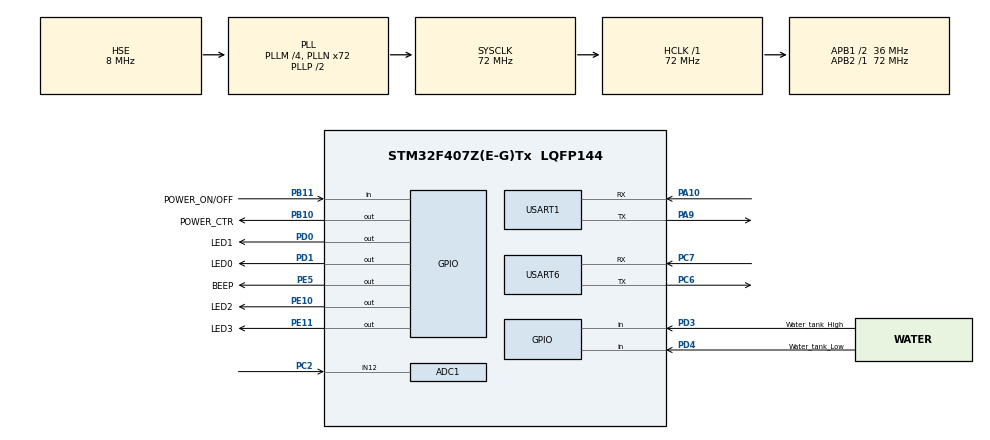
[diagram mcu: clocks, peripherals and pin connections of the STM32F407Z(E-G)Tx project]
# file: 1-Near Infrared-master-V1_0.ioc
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ADC1.Channel-0\#ChannelRegularConversion=ADC_CHANNEL_12
ADC1.ClockPrescaler=ADC_CLOCK_SYNC_PCLK_DIV8
ADC1.ContinuousConvMode=ENABLE
ADC1.InjNumberOfConversion=0
ADC1.NbrOfConversionFlag=1
ADC1.Rank-0\#ChannelRegularConversion=1
ADC1.SamplingTime-0\#ChannelRegularConversion=ADC_SAMPLETIME_15CYCLES
ADC1.master=1
FREERTOS.Tasks01=LED_Task,-1,128,Start_LED_Task,Default,NULL,Dynamic,NULL,NULL;PWR_Task,0,128,Start_PWR_Task,Default,NULL,Dynamic,NULL,NULL;BOOT_Task,-1,128,Start_BOOT_Task,Default,NULL,Dynamic,NULL,NULL;Modbus_Task,-1,128,Start_Modbus_Task,Default,NULL,Dynamic,NULL,NULL;FAN_Task,-3,128,Start_FAN_Task,Default,NULL,Dynamic,NULL,NULL;liquid,-3,128,Start_liquid,Default,NULL,Dynamic,NULL,NULL;B3950_Task,-3,128,Start_B3950_Task,Default,NULL,Dynamic,NULL,NULL
Mcu.Family=STM32F4
Mcu.Name=STM32F407Z(E-G)Tx
Mcu.Package=LQFP144
NVIC.PriorityGroup=NVIC_PRIORITYGROUP_4
NVIC.TIM2_IRQn=true\:5\:0\:false\:false\:true\:true\:true\:true\:true
NVIC.TIM3_IRQn=true\:5\:0\:false\:false\:true\:true\:true\:true\:true
NVIC.TIM7_IRQn=true\:15\:0\:false\:false\:true\:false\:false\:true\:true
NVIC.TimeBase=TIM7_IRQn
NVIC.TimeBaseIP=TIM7
NVIC.USART1_IRQn=true\:5\:0\:false\:false\:true\:true\:true\:true\:true
NVIC.USART6_IRQn=true\:6\:0\:true\:false\:true\:true\:true\:true\:true
PA10.Mode=Asynchronous
PA10.Signal=USART1_RX
PA13.Mode=Serial_Wire
PA13.Signal=SYS_JTMS-SWDIO
PA14.Mode=Serial_Wire
PA14.Signal=SYS_JTCK-SWCLK
PA9.Mode=Asynchronous
PA9.Signal=USART1_TX
PB10.GPIO_Label=POWER_CTR
PB10.GPIO_PuPd=GPIO_PULLDOWN
PB10.GPIO_Speed=GPIO_SPEED_FREQ_HIGH
PB10.PinState=GPIO_PIN_RESET
PB10.Signal=GPIO_Output
PB11.GPIO_Label=POWER_ON/OFF
PB11.GPIO_PuPd=GPIO_PULLUP
PB11.Signal=GPIO_Input
PC2.Signal=ADCx_IN12
PC6.Mode=Asynchronous
PC6.Signal=USART6_TX
PC7.Mode=Asynchronous
PC7.Signal=USART6_RX
PD0.GPIO_Label=LED1
PD0.GPIO_PuPd=GPIO_PULLUP
PD0.GPIO_Speed=GPIO_SPEED_FREQ_HIGH
PD0.PinState=GPIO_PIN_SET
PD0.Signal=GPIO_Output
PD1.GPIO_Label=LED0
PD1.GPIO_PuPd=GPIO_PULLUP
PD1.GPIO_Speed=GPIO_SPEED_FREQ_HIGH
PD1.PinState=GPIO_PIN_SET
PD1.Signal=GPIO_Output
PD3.GPIO_Label=Water_tank_High
PD3.GPIO_PuPd=GPIO_PULLUP
PD3.Signal=GPIO_Input
PD4.GPIO_Label=Water_tank_Low
PD4.GPIO_PuPd=GPIO_PULLUP
PD4.Signal=GPIO_Input
PE10.GPIO_Label=LED2
PE10.GPIO_PuPd=GPIO_PULLUP
PE10.GPIO_Speed=GPIO_SPEED_FREQ_HIGH
PE10.PinState=GPIO_PIN_SET
PE10.Signal=GPIO_Output
PE11.GPIO_Label=LED3
PE11.GPIO_PuPd=GPIO_PULLUP
PE11.GPIO_Speed=GPIO_SPEED_FREQ_HIGH
PE11.PinState=GPIO_PIN_SET
PE11.Signal=GPIO_Output
PE5.GPIO_Label=BEEP
PE5.GPIO_PuPd=GPIO_PULLDOWN
PE5.GPIO_Speed=GPIO_SPEED_FREQ_HIGH
PE5.Signal=GPIO_Output
PH0-OSC_IN.Mode=HSE-External-Oscillator
PH0-OSC_IN.Signal=RCC_OSC_IN
PH1-OSC_OUT.Mode=HSE-External-Oscillator
PH1-OSC_OUT.Signal=RCC_OSC_OUT
ProjectManager.HeapSize=0x200
ProjectManager.StackSize=0x400
ProjectManager.TargetToolchain=MDK-ARM V5.32
RCC.48MHZClocksFreq_Value=36000000
RCC.AHBFreq_Value=72000000
RCC.APB1CLKDivider=RCC_HCLK_DIV2
RCC.APB1Freq_Value=36000000
RCC.APB1TimFreq_Value=72000000
RCC.APB2Freq_Value=72000000
RCC.APB2TimFreq_Value=72000000
RCC.CortexFreq_Value=72000000
RCC.HCLKFreq_Value=72000000
RCC.HSE_VALUE=8000000
RCC.HSI_VALUE=16000000
RCC.LSE_VALUE=32768
RCC.PLLM=4
RCC.PLLN=72
RCC.PLLSourceVirtual=RCC_PLLSOURCE_HSE
RCC.SYSCLKFreq_VALUE=72000000
RCC.SYSCLKSource=RCC_SYSCLKSOURCE_PLLCLK
RCC.VCOOutputFreq_Value=144000000
RTC.Date=12
SH.ADCx_IN12.0=ADC1_IN12,IN12
TIM2.Period=1750
TIM2.Prescaler=72-1
TIM3.AutoReloadPreload=TIM_AUTORELOAD_PRELOAD_ENABLE
TIM3.Period=1000-1
TIM3.Prescaler=72-1
USART1.VirtualMode=VM_ASYNC
USART6.VirtualMode=VM_ASYNC
VP_FREERTOS_VS_CMSIS_V1.Mode=CMSIS_V1
VP_RTC_VS_RTC_Activate.Mode=RTC_Enabled
VP_RTC_VS_RTC_Calendar.Mode=RTC_Calendar
VP_RTC_VS_RTC_WakeUp_intern.Mode=WakeUp
VP_SYS_VS_tim7.Mode=TIM7
VP_TIM2_VS_ClockSourceINT.Mode=Internal
VP_TIM3_VS_ClockSourceINT.Mode=Internal
board=custom

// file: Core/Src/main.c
/* USER CODE BEGIN Header */
/**
  ******************************************************************************
  * @file           : main.c
  * @brief          : Main program body
  ******************************************************************************
  * @attention
  *
  * Copyright (c) 2024 STMicroelectronics.
  * All rights reserved.
  *
  * This software is licensed under terms that can be found in the LICENSE file
  * in the root directory of this software component.
  * If no LICENSE file comes with this software, it is provided AS-IS.
  *
  ******************************************************************************
  */
/* USER CODE END Header */
#include "main.h"
#include "cmsis_os.h"
#include "adc.h"
#include "rtc.h"
#include "tim.h"
#include "usart.h"
#include "gpio.h"

/* USER CODE BEGIN Includes */
#include "oled.h"
#include "modbus.h"

/* USER CODE END Includes */

void SystemClock_Config(void);
void MX_FREERTOS_Init(void);

int main(void)
{

  /* MCU Configuration--------------------------------------------------------*/

  /* Reset of all peripherals, Initializes the Flash interface and the Systick. */
  HAL_Init();

  /* Configure the system clock */
  SystemClock_Config();

  /* Initialize all configured peripherals */
  MX_GPIO_Init();
  MX_USART6_UART_Init();
  MX_TIM2_Init();
  MX_RTC_Init();
  MX_TIM3_Init();
  MX_USART1_UART_Init();
  MX_ADC1_Init();
  /* USER CODE BEGIN 2 */
  HAL_GPIO_WritePin(POWER_CTR_GPIO_Port,POWER_CTR_Pin,GPIO_PIN_SET);
  Modbus_Init();//本机作为从机使用时初始化
//  HAL_UART_Receive_IT(&huart1, (uint8_t *)&RES,1);  //添加的一行代码
//  OLED_Init();
//  OLED_Clear();

  /* USER CODE END 2 */

  /* Call init function for freertos objects (in cmsis_os2.c) */
  MX_FREERTOS_Init();

  /* Start scheduler */
  osKernelStart();

  /* We should never get here as control is now taken by the scheduler */

  /* Infinite loop */
  while (1)
  {

  }
}

void SystemClock_Config(void)
{
  RCC_OscInitTypeDef RCC_OscInitStruct = {0};
  RCC_ClkInitTypeDef RCC_ClkInitStruct = {0};

  /** Configure the main internal regulator output voltage
  */
  __HAL_RCC_PWR_CLK_ENABLE();
  __HAL_PWR_VOLTAGESCALING_CONFIG(PWR_REGULATOR_VOLTAGE_SCALE1);

  /** Initializes the RCC Oscillators according to the specified parameters
  * in the RCC_OscInitTypeDef structure.
  */
  RCC_OscInitStruct.OscillatorType = RCC_OSCILLATORTYPE_LSI|RCC_OSCILLATORTYPE_HSE;
  RCC_OscInitStruct.HSEState = RCC_HSE_ON;
  RCC_OscInitStruct.LSIState = RCC_LSI_ON;
  RCC_OscInitStruct.PLL.PLLState = RCC_PLL_ON;
  RCC_OscInitStruct.PLL.PLLSource = RCC_PLLSOURCE_HSE;
  RCC_OscInitStruct.PLL.PLLM = 4;
  RCC_OscInitStruct.PLL.PLLN = 72;
  RCC_OscInitStruct.PLL.PLLP = RCC_PLLP_DIV2;
  RCC_OscInitStruct.PLL.PLLQ = 4;
  if (HAL_RCC_OscConfig(&RCC_OscInitStruct) != HAL_OK)
  {
    Error_Handler();
  }

  /** Initializes the CPU, AHB and APB buses clocks
  */
  RCC_ClkInitStruct.ClockType = RCC_CLOCKTYPE_HCLK|RCC_CLOCKTYPE_SYSCLK
                              |RCC_CLOCKTYPE_PCLK1|RCC_CLOCKTYPE_PCLK2;
  RCC_ClkInitStruct.SYSCLKSource = RCC_SYSCLKSOURCE_PLLCLK;
  RCC_ClkInitStruct.AHBCLKDivider = RCC_SYSCLK_DIV1;
  RCC_ClkInitStruct.APB1CLKDivider = RCC_HCLK_DIV2;
  RCC_ClkInitStruct.APB2CLKDivider = RCC_HCLK_DIV1;

  if (HAL_RCC_ClockConfig(&RCC_ClkInitStruct, FLASH_LATENCY_2) != HAL_OK)
  {
    Error_Handler();
  }
}

void HAL_TIM_PeriodElapsedCallback(TIM_HandleTypeDef *htim)
{
  if (htim->Instance == TIM7) {
    HAL_IncTick();
  }
  /* USER CODE BEGIN Callback 1 */

  	if (htim->Instance == TIM3)
	{

 		if(modbus.timrun != 0)//运行时间！=0表明
 		 {
 		  modbus.timout++;
 		  if(modbus.timout >=8)
 		  {
 		   modbus.timrun = 0;
 			 modbus.reflag = 1;//接收数据完毕
 		  }
 		}
 		modbus.Host_Sendtime++;//发送完上一帧后的时间计数
		if(modbus.Host_Sendtime>1000)//距离发送上一帧数据1s了
		{
			//1s时间到
			modbus.Host_time_flag=1;//发送数据标志位置1
		}
	}

  /* USER CODE END Callback 1 */
}

void Error_Handler(void)
{
  __disable_irq();
  while (1)
  {
  }
}

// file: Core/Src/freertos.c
/* USER CODE BEGIN Header */
/**
  ******************************************************************************
  * File Name          : freertos.c
  * Description        : Code for freertos applications
  ******************************************************************************
  * @attention
  *
  * Copyright (c) 2024 STMicroelectronics.
  * All rights reserved.
  *
  * This software is licensed under terms that can be found in the LICENSE file
  * in the root directory of this software component.
  * If no LICENSE file comes with this software, it is provided AS-IS.
  *
  ******************************************************************************
  */
/* USER CODE END Header */

#include "FreeRTOS.h"
#include "task.h"
#include "main.h"
#include "cmsis_os.h"

/* USER CODE BEGIN Includes */
#include "menu.h"
#include "modbus.h"
#include "PWR_ON_OFF.h"
#include "string.h"
#include "stdio.h"
#include "Water_tank_liquid.h"
#include "flash_write_read.h"

/* USER CODE END Includes */

osThreadId LED_TaskHandle;
osThreadId PWR_TaskHandle;
osThreadId BOOT_TaskHandle;
osThreadId Modbus_TaskHandle;
osThreadId FAN_TaskHandle;
osThreadId liquidHandle;
osThreadId B3950_TaskHandle;

void Start_LED_Task(void const * argument);
void Start_PWR_Task(void const * argument);
void Start_BOOT_Task(void const * argument);
void Start_Modbus_Task(void const * argument);
void Start_FAN_Task(void const * argument);
void Start_liquid(void const * argument);
void Start_B3950_Task(void const * argument);

void MX_FREERTOS_Init(void); /* (MISRA C 2004 rule 8.1) */

/* GetIdleTaskMemory prototype (linked to static allocation support) */
void vApplicationGetIdleTaskMemory( StaticTask_t **ppxIdleTaskTCBBuffer, StackType_t **ppxIdleTaskStackBuffer, uint32_t *pulIdleTaskStackSize );

/* USER CODE BEGIN GET_IDLE_TASK_MEMORY */
static StaticTask_t xIdleTaskTCBBuffer;
static StackType_t xIdleStack[configMINIMAL_STACK_SIZE];

void vApplicationGetIdleTaskMemory( StaticTask_t **ppxIdleTaskTCBBuffer, StackType_t **ppxIdleTaskStackBuffer, uint32_t *pulIdleTaskStackSize )
{
    *ppxIdleTaskTCBBuffer = &xIdleTaskTCBBuffer;
    *ppxIdleTaskStackBuffer = &xIdleStack[0];
    *pulIdleTaskStackSize = configMINIMAL_STACK_SIZE;
    /* place for user code */
}
/* USER CODE END GET_IDLE_TASK_MEMORY */

void MX_FREERTOS_Init(void) {

  /* Create the thread(s) */
  /* definition and creation of LED_Task */
  osThreadDef(LED_Task, Start_LED_Task, osPriorityBelowNormal, 0, 128);
  LED_TaskHandle = osThreadCreate(osThread(LED_Task), NULL);

  /* definition and creation of PWR_Task */
  osThreadDef(PWR_Task, Start_PWR_Task, osPriorityNormal, 0, 128);
  PWR_TaskHandle = osThreadCreate(osThread(PWR_Task), NULL);

  /* definition and creation of BOOT_Task */
  osThreadDef(BOOT_Task, Start_BOOT_Task, osPriorityBelowNormal, 0, 128);
  BOOT_TaskHandle = osThreadCreate(osThread(BOOT_Task), NULL);

  /* definition and creation of Modbus_Task */
  osThreadDef(Modbus_Task, Start_Modbus_Task, osPriorityBelowNormal, 0, 128);
  Modbus_TaskHandle = osThreadCreate(osThread(Modbus_Task), NULL);

  /* definition and creation of FAN_Task */
  osThreadDef(FAN_Task, Start_FAN_Task, osPriorityIdle, 0, 128);
  FAN_TaskHandle = osThreadCreate(osThread(FAN_Task), NULL);

  /* definition and creation of liquid */
  osThreadDef(liquid, Start_liquid, osPriorityIdle, 0, 128);
  liquidHandle = osThreadCreate(osThread(liquid), NULL);

  /* definition and creation of B3950_Task */
  osThreadDef(B3950_Task, Start_B3950_Task, osPriorityIdle, 0, 128);
  B3950_TaskHandle = osThreadCreate(osThread(B3950_Task), NULL);

}

void Start_LED_Task(void const * argument)
{
  /* USER CODE BEGIN Start_LED_Task */
    /* Infinite loop */
    for(;;)
    {
        osDelay(500);
    }
  /* USER CODE END Start_LED_Task */
}

void Start_PWR_Task(void const * argument)
{
  /* USER CODE BEGIN Start_PWR_Task */

    /* Infinite loop */
    osDelay(500);
    for(;;)
    {
        PWR_ON_OFF();
        osDelay(20);
    }
  /* USER CODE END Start_PWR_Task */
}

void Start_BOOT_Task(void const * argument)
{
    for(;;)
    {
        osDelay(1);
    }
}

void Start_Modbus_Task(void const * argument)
{
  /* USER CODE BEGIN Start_Modbus_Task */
    /* Infinite loop */
    for(;;)
    {
        if(modbus.Host_time_flag)//每1s发送一次数据
        {
            //01-读取从机数据测试
            //参数1：查看第i个从机数据
//            Host_Read03_slave(0x01,0x0000,0x0003);//参数1从机地址，参数2起始地址，参数3寄存器个数
//            if(modbus.Host_send_flag)
//            {
//                modbus.Host_Sendtime=0;//发送完毕后计数清零（距离上次的时间）
//                modbus.Host_time_flag=0;//发送数据标志位清零
//                modbus.Host_send_flag=0;//清空发送结束数据标志位
//                HOST_ModbusRX();//接收数据进行处理
//            }
//					//02-写入数据测试
////					Host_write06_slave(0x01,0x06,0x0001,0x0045);
////					if(modbus.Host_send_flag)
////					{
////						modbus.Host_Sendtime=0;//发送完毕后计数清零（距离上次的时间）
////						modbus.Host_time_flag=0;//发送数据标志位清零
////						modbus.Host_send_flag=0;//清空发送结束数据标志位
////						Host_Func6();//从机返回数据处理
////					}
//			//03-写入多个数据测试-作为主机使用
////			Host_write10_slave(0x01,0x10,0x0001,0x0002,0x04,0x0102,0x0305);
////			Host_write06_slave(0x01,0x06,0x0001,0x0045);
////			if(modbus.Host_send_flag)
////			{
////				modbus.Host_Sendtime=0;//发送完毕后计数清零（距离上次的时间）
////				modbus.Host_time_flag=0;//发送数据标志位清零
////				modbus.Host_send_flag=0;//清空发送结束数据标志位
////				Host_Func10();//从机返回数据处理
////			}
            //4-作为从机使用
            Modbus_Event();//本机作为从机使用时
        }
//		osDelay(5);
    }
  /* USER CODE END Start_Modbus_Task */
}

void Start_FAN_Task(void const * argument)
{
  /* USER CODE BEGIN Start_FAN_Task */
    /* Infinite loop */
    for(;;)
    {
//        printf("Reg[2]寄存器中的值： %d\n",Reg[2]);
//		printf("Reg[1]寄存器中的值： %d\n",Reg[1]);
//
        if(Reg[2] == 69)
        {
            HAL_GPIO_WritePin(LED2_GPIO_Port,LED2_Pin,GPIO_PIN_RESET);
        }

        if(Reg[2] == 80)
        {
            HAL_GPIO_WritePin(LED2_GPIO_Port,LED2_Pin,GPIO_PIN_SET);
        }

		if(Reg[1] == 52)//亮灯
        {
            HAL_GPIO_WritePin(LED3_GPIO_Port,LED3_Pin,GPIO_PIN_RESET);
        }

        if(Reg[1] == 51 || Reg[1] == 0)//灭灯
        {
            HAL_GPIO_WritePin(LED3_GPIO_Port,LED3_Pin,GPIO_PIN_SET);
        }
		osDelay(50);

    }
  /* USER CODE END Start_FAN_Task */
}

void Start_liquid(void const * argument)
{
  /* USER CODE BEGIN Start_liquid */
    /* Infinite loop */
	STMFLASH_Read(FLASH_ADDR,(uint32_t *)&water_flag_fill_flag,1);//存入此刻液位的高低的标志位。

    uint8_t water_low_flag = 0;//液位高低的标志位
    uint8_t water_high_flag = 0;//液位高低的标志位
//    uint8_t water_flag_fill = 0;//液位满的标志位，高低液位均达标了。
//    water_flag_fill = water_low_flag + water_high_flag;
    for(;;)
    {
        water_low_flag = Water_tank_liquid_low(0);
        water_high_flag = Water_tank_liquid_high(0);
//	  if(water_low_flag == 1)//低液位的标志位
//	  {
//		  HAL_GPIO_WritePin(LED0_GPIO_Port,LED0_Pin,GPIO_PIN_RESET);
////		  water_flag = 0;
//	  }
//	  if(water_high_flag == 2)//高液位的标志位
//	  {
//		  HAL_GPIO_WritePin(LED1_GPIO_Port,LED1_Pin,GPIO_PIN_RESET);
////		  water_flag = 0;
//	  }

        if(water_flag_fill_flag == 0)
        {

            if(water_low_flag  == 1)//低液位有效
            {
                HAL_GPIO_WritePin(LED0_GPIO_Port,LED0_Pin,GPIO_PIN_RESET);//低液位的指示灯亮起

            }
            if( water_high_flag  == 2)//高液位有效
            {
                HAL_GPIO_WritePin(LED1_GPIO_Port,LED1_Pin,GPIO_PIN_RESET);//低液位的指示灯亮起

            }

            if(water_low_flag + water_high_flag  == 0)//没有达到高液位和低液位，指示灯全灭。
            {
                HAL_GPIO_WritePin(LED0_GPIO_Port,LED0_Pin,GPIO_PIN_SET);
                HAL_GPIO_WritePin(LED1_GPIO_Port,LED1_Pin,GPIO_PIN_SET);

            }

            else if(water_low_flag + water_high_flag  == 3)
            {
                water_flag_fill_flag = 1;
                STMFLASH_Write(FLASH_ADDR,(uint32_t *)&water_flag_fill_flag,1);//存入此刻液位的高低的标志位。
                for(int i = 0; i<6; i++) //蜂鸣器响三声后，执行软件复位。
                {
                    HAL_GPIO_TogglePin(BEEP_GPIO_Port,BEEP_Pin);
                    osDelay(500);
                }
                HAL_NVIC_SystemReset();//	  执行软件复位。

            }
        }

        else if(water_flag_fill_flag == 1)
        {

            if(water_high_flag + water_low_flag < 3)//高液位的标志位
            {
				Reg[0] = 0x0009;
                water_flag_fill_flag = 0;
                STMFLASH_Write(FLASH_ADDR,(uint32_t *)&water_flag_fill_flag,1);
                HAL_GPIO_WritePin(LED0_GPIO_Port,LED0_Pin,GPIO_PIN_SET);
                HAL_GPIO_WritePin(LED1_GPIO_Port,LED1_Pin,GPIO_PIN_SET);
                //		  water_flag = 0;
            }

			if(water_high_flag + water_low_flag == 3)//高液位的标志位
			{
				osDelay(500);
				Reg[0] = 0x0010;
			}
        }
//    printf("此刻water_low_flag的值是： %d\r\n",water_flag_fill_flag);
//	  printf("water_low_flag的值是：%d\r\n",water_low_flag);
//	  printf("water_high_flag的值是：%d\r\n",water_high_flag);
        osDelay(100);
    }
  /* USER CODE END Start_liquid */
}

void Start_B3950_Task(void const * argument)
{
  for(;;)
  {
    osDelay(1);
  }
}
